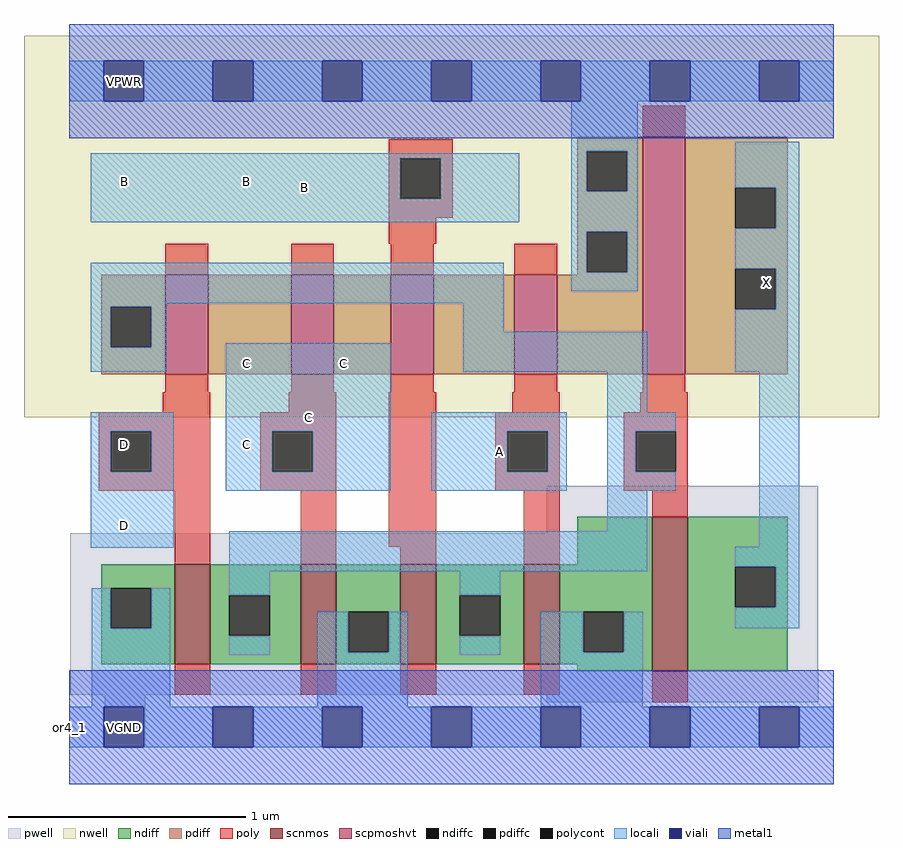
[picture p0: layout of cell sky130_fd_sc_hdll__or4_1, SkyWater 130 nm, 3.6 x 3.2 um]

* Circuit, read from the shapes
.subckt sky130_fd_sc_hdll__or4_1 A B C D VGND VNB VPB VPWR X
XM1 n1 D VGND VNB sky130_fd_pr__nfet_01v8 w=0.42 l=0.15
XM2 VGND C n1 VNB sky130_fd_pr__nfet_01v8 w=0.42 l=0.15
XM3 n1 B VGND VNB sky130_fd_pr__nfet_01v8 w=0.42 l=0.15
XM4 VGND A n1 VNB sky130_fd_pr__nfet_01v8 w=0.42 l=0.15
XM5 X n1 VGND VNB sky130_fd_pr__nfet_01v8 w=0.65 l=0.15
XM6 n2 D n1 VPB sky130_fd_pr__pfet_01v8_hvt w=0.42 l=0.18
XM7 n3 C n2 VPB sky130_fd_pr__pfet_01v8_hvt w=0.42 l=0.18
XM8 n4 B n3 VPB sky130_fd_pr__pfet_01v8_hvt w=0.42 l=0.18
XM9 VPWR A n4 VPB sky130_fd_pr__pfet_01v8_hvt w=0.42 l=0.18
XM10 X n1 VPWR VPB sky130_fd_pr__pfet_01v8_hvt w=1 l=0.18
.ends

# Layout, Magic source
magic
tech sky130A
magscale 1 2
<< nwell >>
rect -38 261 682 582
<< pwell >>
rect 402 163 631 203
rect 1 27 631 163
rect 30 -17 64 27
rect 402 21 631 27
<< scnmos >>
rect 89 53 119 137
rect 195 53 225 137
rect 279 53 309 137
rect 383 53 413 137
rect 491 47 521 177
<< scpmoshvt >>
rect 81 297 117 381
rect 187 297 223 381
rect 271 297 307 381
rect 375 297 411 381
rect 483 297 519 497
<< ndiff >>
rect 428 137 491 177
rect 27 117 89 137
rect 27 83 35 117
rect 69 83 89 117
rect 27 53 89 83
rect 119 111 195 137
rect 119 77 135 111
rect 169 77 195 111
rect 119 53 195 77
rect 225 97 279 137
rect 225 63 235 97
rect 269 63 279 97
rect 225 53 279 63
rect 309 111 383 137
rect 309 77 329 111
rect 363 77 383 111
rect 309 53 383 77
rect 413 97 491 137
rect 413 63 433 97
rect 467 63 491 97
rect 413 53 491 63
rect 428 47 491 53
rect 521 135 605 177
rect 521 101 561 135
rect 595 101 605 135
rect 521 47 605 101
<< pdiff >>
rect 428 485 483 497
rect 428 451 436 485
rect 470 451 483 485
rect 428 417 483 451
rect 428 383 436 417
rect 470 383 483 417
rect 428 381 483 383
rect 27 354 81 381
rect 27 320 35 354
rect 69 320 81 354
rect 27 297 81 320
rect 117 297 187 381
rect 223 297 271 381
rect 307 297 375 381
rect 411 297 483 381
rect 519 454 605 497
rect 519 420 561 454
rect 595 420 605 454
rect 519 386 605 420
rect 519 352 561 386
rect 595 352 605 386
rect 519 297 605 352
<< ndiffc >>
rect 35 83 69 117
rect 135 77 169 111
rect 235 63 269 97
rect 329 77 363 111
rect 433 63 467 97
rect 561 101 595 135
<< pdiffc >>
rect 436 451 470 485
rect 436 383 470 417
rect 35 320 69 354
rect 561 420 595 454
rect 561 352 595 386
<< poly >>
rect 483 497 519 523
rect 269 479 323 495
rect 269 445 279 479
rect 313 445 323 479
rect 269 429 323 445
rect 269 407 309 429
rect 81 381 117 407
rect 187 381 223 407
rect 271 381 307 407
rect 375 381 411 407
rect 81 282 117 297
rect 187 282 223 297
rect 271 282 307 297
rect 375 282 411 297
rect 483 282 519 297
rect 79 265 119 282
rect 185 265 225 282
rect 25 249 119 265
rect 25 215 35 249
rect 69 215 119 249
rect 25 199 119 215
rect 161 249 225 265
rect 161 215 171 249
rect 205 215 225 249
rect 161 199 225 215
rect 89 137 119 199
rect 195 137 225 199
rect 269 152 309 282
rect 373 265 413 282
rect 481 265 521 282
rect 359 249 413 265
rect 359 215 369 249
rect 403 215 413 249
rect 359 199 413 215
rect 467 249 521 265
rect 467 215 477 249
rect 511 215 521 249
rect 467 199 521 215
rect 279 137 309 152
rect 383 137 413 199
rect 491 177 521 199
rect 89 27 119 53
rect 195 27 225 53
rect 279 27 309 53
rect 383 27 413 53
rect 491 21 521 47
<< polycont >>
rect 279 445 313 479
rect 35 215 69 249
rect 171 215 205 249
rect 369 215 403 249
rect 477 215 511 249
<< locali >>
rect 0 527 29 561
rect 63 527 121 561
rect 155 527 213 561
rect 247 527 305 561
rect 339 527 397 561
rect 431 527 489 561
rect 523 527 581 561
rect 615 527 644 561
rect 423 485 479 527
rect 18 479 379 483
rect 18 445 279 479
rect 313 445 379 479
rect 18 425 379 445
rect 423 451 436 485
rect 470 451 479 485
rect 423 417 479 451
rect 18 357 366 391
rect 423 383 436 417
rect 470 383 479 417
rect 423 367 479 383
rect 561 454 615 493
rect 595 420 615 454
rect 561 386 615 420
rect 18 354 82 357
rect 18 320 35 354
rect 69 320 82 354
rect 332 333 366 357
rect 595 352 615 386
rect 18 299 82 320
rect 18 249 88 265
rect 18 215 35 249
rect 69 215 88 249
rect 18 151 88 215
rect 132 249 271 323
rect 332 299 487 333
rect 561 299 615 352
rect 453 265 487 299
rect 132 215 171 249
rect 205 215 271 249
rect 132 199 271 215
rect 305 249 419 265
rect 305 215 369 249
rect 403 215 419 249
rect 305 199 419 215
rect 453 249 511 265
rect 453 215 477 249
rect 453 199 511 215
rect 453 165 487 199
rect 135 131 487 165
rect 581 152 615 299
rect 561 135 615 152
rect 19 83 35 117
rect 69 83 85 117
rect 19 17 85 83
rect 135 111 169 131
rect 329 111 363 131
rect 135 61 169 77
rect 209 63 235 97
rect 269 63 285 97
rect 209 17 285 63
rect 595 101 615 135
rect 329 61 363 77
rect 397 63 433 97
rect 467 63 483 97
rect 561 83 615 101
rect 397 17 483 63
rect 0 -17 29 17
rect 63 -17 121 17
rect 155 -17 213 17
rect 247 -17 305 17
rect 339 -17 397 17
rect 431 -17 489 17
rect 523 -17 581 17
rect 615 -17 644 17
<< viali >>
rect 29 527 63 561
rect 121 527 155 561
rect 213 527 247 561
rect 305 527 339 561
rect 397 527 431 561
rect 489 527 523 561
rect 581 527 615 561
rect 29 -17 63 17
rect 121 -17 155 17
rect 213 -17 247 17
rect 305 -17 339 17
rect 397 -17 431 17
rect 489 -17 523 17
rect 581 -17 615 17
<< metal1 >>
rect 0 561 644 592
rect 0 527 29 561
rect 63 527 121 561
rect 155 527 213 561
rect 247 527 305 561
rect 339 527 397 561
rect 431 527 489 561
rect 523 527 581 561
rect 615 527 644 561
rect 0 496 644 527
rect 0 17 644 48
rect 0 -17 29 17
rect 63 -17 121 17
rect 155 -17 213 17
rect 247 -17 305 17
rect 339 -17 397 17
rect 431 -17 489 17
rect 523 -17 581 17
rect 615 -17 644 17
rect 0 -48 644 -17
<< labels >>
flabel locali s 132 199 271 323 0 FreeSans 400 0 0 0 C
port 3 nsew signal input
flabel locali s 305 199 419 265 0 FreeSans 400 0 0 0 A
port 1 nsew signal input
flabel locali s 570 357 604 391 0 FreeSans 200 0 0 0 X
port 9 nsew signal output
flabel locali s 132 221 166 255 0 FreeSans 400 0 0 0 C
port 3 nsew
flabel locali s 18 425 379 483 0 FreeSans 400 0 0 0 B
port 2 nsew signal input
flabel locali s 132 442 166 476 0 FreeSans 400 0 0 0 B
port 2 nsew
flabel locali s 132 289 166 323 0 FreeSans 400 0 0 0 C
port 3 nsew
flabel locali s 30 442 64 476 0 FreeSans 400 0 0 0 B
port 2 nsew
flabel locali s 231 306 231 306 0 FreeSans 400 0 0 0 C
port 3 nsew
flabel locali s 30 221 64 255 0 FreeSans 400 0 0 0 D
port 4 nsew signal input
flabel locali s 30 153 64 187 0 FreeSans 400 0 0 0 D
port 4 nsew signal input
flabel metal1 s 30 527 64 561 0 FreeSans 200 0 0 0 VPWR
port 8 nsew power bidirectional
flabel metal1 s 30 -17 64 17 0 FreeSans 200 0 0 0 VGND
port 5 nsew ground bidirectional
flabel nwell s 30 527 64 561 0 FreeSans 200 0 0 0 VPB
port 7 nsew power bidirectional
flabel pwell s 30 -17 64 17 0 FreeSans 200 0 0 0 VNB
port 6 nsew ground bidirectional
rlabel comment s 0 0 0 0 4 or4_1
<< properties >>
string LEFsite unithd
string LEFclass CORE
string FIXED_BBOX 0 0 644 544
string GDS_FILE $PDKPATH/libs.ref/sky130_fd_sc_hdll/gds/sky130_fd_sc_hdll.gds
string LEFsymmetry X Y R90
string GDS_END 329836
string GDS_START 323574
string LEFproperties maskLayoutSubType "abstract" prCellType "standard" originalViewName "layout"
<< end >>
